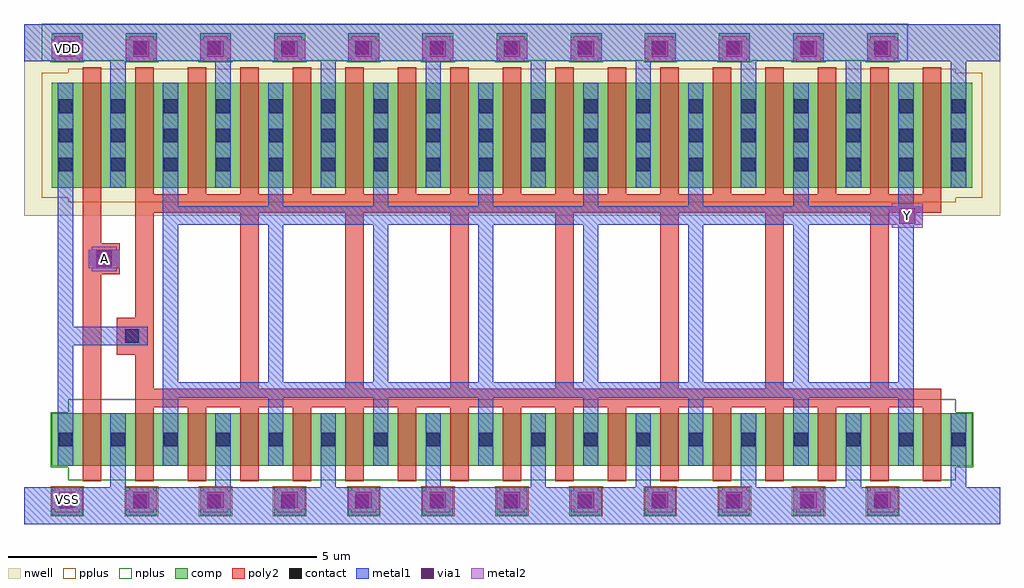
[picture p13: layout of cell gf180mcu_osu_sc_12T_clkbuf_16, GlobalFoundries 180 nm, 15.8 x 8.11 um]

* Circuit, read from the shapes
.subckt gf180mcu_osu_sc_12T_clkbuf_16 A VDD VSS Y
XM1 VSS A n1 VSS nfet_03v3 w=0.85u l=0.3u
XM2 Y n1 VSS VSS nfet_03v3 w=0.85u l=0.3u m=16
XM3 VDD A n1 VDD pfet_03v3 w=1.7u l=0.3u
XM4 Y n1 VDD VDD pfet_03v3 w=1.7u l=0.3u m=16
.ends

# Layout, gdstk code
import gdstk
lib = gdstk.Library(unit=1e-6, precision=1e-09)
def R(c, l, rs):  # rectangles x0, y0, x1, y1
    for r in rs: c.add(gdstk.rectangle(r[:2], r[2:], *l))
def A(c, l, x, y, w, h, nx, ny, dx, dy):  # array of equal rectangles
    R(c, l, [(x+i*dx, y+j*dy, x+i*dx+w, y+j*dy+h) for i in range(nx) for j in range(ny)])
nwell = (21, 0)
comp = (22, 0)
poly2 = (30, 0)
pplus = (31, 0)
nplus = (32, 0)
contact = (33, 0)
metal1 = (34, 0)
via1 = (35, 0)
metal2 = (36, 0)

gf180mcu_osu_sc_12t_clkb = lib.new_cell('gf180mcu_osu_sc_12T_clkbuf_16')
R(gf180mcu_osu_sc_12t_clkb, nwell, [(0,5,15.8,8.1)])
A(gf180mcu_osu_sc_12t_clkb, comp, 0.45, 0.15, 0.5, 0.45, 12, 2, 1.2, 7.35)
R(gf180mcu_osu_sc_12t_clkb, comp, [(0.45,0.95,15.35,1.8), (0.45,5.45,15.35,7.15)])
A(gf180mcu_osu_sc_12t_clkb, poly2, 1.8, 0.7, 0.3, 1.2, 16, 1, 0.85, 0)
A(gf180mcu_osu_sc_12t_clkb, poly2, 3.5, 2.2, 0.3, 2.85, 7, 1, 1.7, 0)
A(gf180mcu_osu_sc_12t_clkb, poly2, 1.8, 5.35, 0.3, 2.05, 16, 1, 0.85, 0)
R(gf180mcu_osu_sc_12t_clkb, poly2, [(0.95,0.7,1.25,4.05), (1.8,1.9,14.85,2.2), (1.8,2.2,2.1,2.75), (1.5,2.75,2.1,3.35), (1.8,3.35,2.1,5.05), (0.95,4.05,1.55,4.55), (0.95,4.55,1.25,7.4), (1.8,5.05,14.85,5.35)])
A(gf180mcu_osu_sc_12t_clkb, pplus, 0.43, 0.13, 0.54, 0.49, 12, 1, 1.2, 0)
R(gf180mcu_osu_sc_12t_clkb, pplus, [(0.72,5.22,15.08,5.29), (0.29,5.29,15.51,7.31), (0.72,7.31,15.08,7.38)])
A(gf180mcu_osu_sc_12t_clkb, nplus, 0.43, 7.48, 0.54, 0.03, 12, 1, 1.2, 0)
R(gf180mcu_osu_sc_12t_clkb, nplus, [(0.72,0.72,15.08,0.93), (0.43,0.93,15.37,1.82), (0.72,1.82,15.08,2.03), (0.29,7.51,14.31,8.11)])
A(gf180mcu_osu_sc_12t_clkb, contact, 0.565, 0.265, 0.22, 0.22, 12, 2, 1.2, 7.35)
A(gf180mcu_osu_sc_12t_clkb, contact, 0.565, 1.265, 0.22, 0.22, 18, 2, 0.85, 4.455)
A(gf180mcu_osu_sc_12t_clkb, contact, 0.565, 6.19, 0.22, 0.22, 18, 2, 0.85, 0.47)
R(gf180mcu_osu_sc_12t_clkb, contact, [(1.64,2.94,1.86,3.16), (1.19,4.19,1.41,4.41)])
A(gf180mcu_osu_sc_12t_clkb, metal1, 1.4, 0.6, 0.25, 1.2, 9, 1, 1.7, 0)
A(gf180mcu_osu_sc_12t_clkb, metal1, 2.25, 0.95, 0.25, 1.1, 8, 1, 1.7, 0)
A(gf180mcu_osu_sc_12t_clkb, metal1, 2.25, 2.3, 0.25, 2.55, 8, 1, 1.7, 0)
A(gf180mcu_osu_sc_12t_clkb, metal1, 2.25, 5.15, 0.25, 2, 8, 1, 1.7, 0)
A(gf180mcu_osu_sc_12t_clkb, metal1, 1.4, 5.45, 0.25, 2.05, 9, 1, 1.7, 0)
R(gf180mcu_osu_sc_12t_clkb, metal1, [(0,0,15.8,0.6), (0.55,0.95,0.8,2.9), (2.25,2.05,14.4,2.3), (0.55,2.9,2,3.2), (0.55,3.2,0.8,7.15), (1.05,4.15,1.55,4.45), (2.25,4.85,14.55,5.15), (0,7.5,15.8,8.1)])
A(gf180mcu_osu_sc_12t_clkb, via1, 0.57, 0.27, 0.26, 0.26, 12, 2, 1.2, 7.3)
R(gf180mcu_osu_sc_12t_clkb, via1, [(1.17,4.17,1.43,4.43), (14.17,4.87,14.43,5.13)])
A(gf180mcu_osu_sc_12t_clkb, metal2, 0.5, 0.2, 0.4, 0.05, 12, 2, 1.2, 0.35)
A(gf180mcu_osu_sc_12t_clkb, metal2, 0.45, 0.25, 0.5, 0.3, 12, 2, 1.2, 7.3)
A(gf180mcu_osu_sc_12t_clkb, metal2, 0.5, 7.5, 0.4, 0.05, 12, 2, 1.2, 0.35)
R(gf180mcu_osu_sc_12t_clkb, metal2, [(1.1,4.1,1.5,4.15), (1.05,4.15,1.55,4.45), (1.1,4.45,1.5,4.5), (14.05,4.8,14.55,4.85), (14,4.85,14.55,5.15), (14.05,5.15,14.55,5.2)])
gf180mcu_osu_sc_12t_clkb.add(gdstk.Label('VSS', (0.7,0.4), layer=36, texttype=0))
gf180mcu_osu_sc_12t_clkb.add(gdstk.Label('VDD', (0.7,7.7), layer=36, texttype=0))
gf180mcu_osu_sc_12t_clkb.add(gdstk.Label('A', (1.3,4.3), layer=36, texttype=10))
gf180mcu_osu_sc_12t_clkb.add(gdstk.Label('Y', (14.3,5), layer=36, texttype=10))

lib.write_gds('gf180mcu_osu_sc_12T_clkbuf_16.gds')
